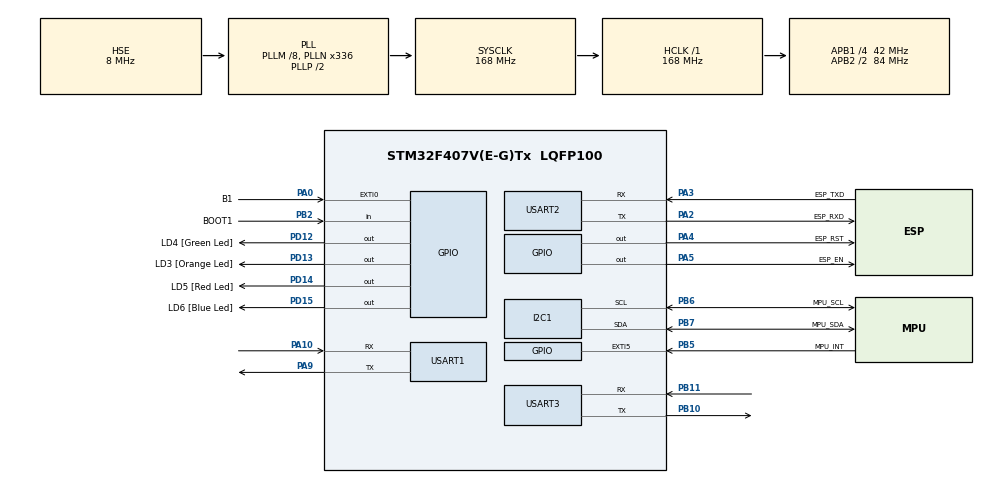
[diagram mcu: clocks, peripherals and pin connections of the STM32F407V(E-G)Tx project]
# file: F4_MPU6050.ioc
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Dma.Request0=USART2_RX
Dma.Request1=USART2_TX
Dma.Request2=USART3_RX
Dma.Request3=USART3_TX
Dma.USART2_RX.0.Direction=DMA_PERIPH_TO_MEMORY
Dma.USART2_RX.0.FIFOMode=DMA_FIFOMODE_DISABLE
Dma.USART2_RX.0.Instance=DMA1_Stream5
Dma.USART2_RX.0.MemDataAlignment=DMA_MDATAALIGN_BYTE
Dma.USART2_RX.0.MemInc=DMA_MINC_ENABLE
Dma.USART2_RX.0.Mode=DMA_NORMAL
Dma.USART2_RX.0.PeriphDataAlignment=DMA_PDATAALIGN_BYTE
Dma.USART2_RX.0.PeriphInc=DMA_PINC_DISABLE
Dma.USART2_RX.0.Priority=DMA_PRIORITY_LOW
Dma.USART2_TX.1.Direction=DMA_MEMORY_TO_PERIPH
Dma.USART2_TX.1.FIFOMode=DMA_FIFOMODE_DISABLE
Dma.USART2_TX.1.Instance=DMA1_Stream6
Dma.USART2_TX.1.MemDataAlignment=DMA_MDATAALIGN_BYTE
Dma.USART2_TX.1.MemInc=DMA_MINC_ENABLE
Dma.USART2_TX.1.Mode=DMA_NORMAL
Dma.USART2_TX.1.PeriphDataAlignment=DMA_PDATAALIGN_BYTE
Dma.USART2_TX.1.PeriphInc=DMA_PINC_DISABLE
Dma.USART2_TX.1.Priority=DMA_PRIORITY_LOW
Dma.USART3_RX.2.Direction=DMA_PERIPH_TO_MEMORY
Dma.USART3_RX.2.FIFOMode=DMA_FIFOMODE_DISABLE
Dma.USART3_RX.2.Instance=DMA1_Stream1
Dma.USART3_RX.2.MemDataAlignment=DMA_MDATAALIGN_BYTE
Dma.USART3_RX.2.MemInc=DMA_MINC_ENABLE
Dma.USART3_RX.2.Mode=DMA_NORMAL
Dma.USART3_RX.2.PeriphDataAlignment=DMA_PDATAALIGN_BYTE
Dma.USART3_RX.2.PeriphInc=DMA_PINC_DISABLE
Dma.USART3_RX.2.Priority=DMA_PRIORITY_LOW
Dma.USART3_TX.3.Direction=DMA_MEMORY_TO_PERIPH
Dma.USART3_TX.3.FIFOMode=DMA_FIFOMODE_DISABLE
Dma.USART3_TX.3.Instance=DMA1_Stream3
Dma.USART3_TX.3.MemDataAlignment=DMA_MDATAALIGN_BYTE
Dma.USART3_TX.3.MemInc=DMA_MINC_ENABLE
Dma.USART3_TX.3.Mode=DMA_NORMAL
Dma.USART3_TX.3.PeriphDataAlignment=DMA_PDATAALIGN_BYTE
Dma.USART3_TX.3.PeriphInc=DMA_PINC_DISABLE
Dma.USART3_TX.3.Priority=DMA_PRIORITY_LOW
Mcu.Family=STM32F4
Mcu.Name=STM32F407V(E-G)Tx
Mcu.Package=LQFP100
NVIC.DMA1_Stream1_IRQn=true\:0\:0\:false\:false\:true\:false\:true
NVIC.DMA1_Stream3_IRQn=true\:0\:0\:false\:false\:true\:false\:true
NVIC.DMA1_Stream5_IRQn=true\:0\:0\:false\:false\:true\:false\:true
NVIC.DMA1_Stream6_IRQn=true\:0\:0\:false\:false\:true\:false\:true
NVIC.EXTI0_IRQn=true\:0\:0\:false\:false\:true\:true\:true
NVIC.EXTI9_5_IRQn=true\:0\:0\:false\:false\:true\:true\:true
NVIC.PriorityGroup=NVIC_PRIORITYGROUP_0
NVIC.USART2_IRQn=true\:0\:0\:false\:false\:true\:true\:true
NVIC.USART3_IRQn=true\:0\:0\:false\:false\:true\:true\:true
PA0-WKUP.GPIO_Label=B1
PA0-WKUP.Signal=GPXTI0
PA10.Mode=Asynchronous
PA10.Signal=USART1_RX
PA13.GPIO_Label=SWDIO
PA13.Mode=Serial_Wire
PA13.Signal=SYS_JTMS-SWDIO
PA14.GPIO_Label=SWCLK
PA14.Mode=Serial_Wire
PA14.Signal=SYS_JTCK-SWCLK
PA2.GPIO_Label=ESP_RXD
PA2.Mode=Asynchronous
PA2.Signal=USART2_TX
PA3.GPIO_Label=ESP_TXD
PA3.Mode=Asynchronous
PA3.Signal=USART2_RX
PA4.GPIO_Label=ESP_RST
PA4.Signal=GPIO_Output
PA5.GPIO_Label=ESP_EN
PA5.Signal=GPIO_Output
PA9.Mode=Asynchronous
PA9.Signal=USART1_TX
PB10.Mode=Asynchronous
PB10.Signal=USART3_TX
PB11.Mode=Asynchronous
PB11.Signal=USART3_RX
PB2.GPIO_Label=BOOT1
PB2.GPIO_Mode=GPIO_MODE_INPUT
PB2.GPIO_PuPd=GPIO_NOPULL
PB2.Signal=GPIO_Input
PB5.GPIO_Label=MPU_INT
PB5.Signal=GPXTI5
PB6.GPIO_Label=MPU_SCL
PB6.Mode=I2C
PB6.Signal=I2C1_SCL
PB7.GPIO_Label=MPU_SDA
PB7.Mode=I2C
PB7.Signal=I2C1_SDA
PC14-OSC32_IN.GPIO_Label=PC14-OSC32_IN
PC14-OSC32_IN.Mode=LSE-External-Oscillator
PC14-OSC32_IN.Signal=RCC_OSC32_IN
PC15-OSC32_OUT.GPIO_Label=PC15-OSC32_OUT
PC15-OSC32_OUT.Mode=LSE-External-Oscillator
PC15-OSC32_OUT.Signal=RCC_OSC32_OUT
PD12.GPIO_Label=LD4 [Green Led]
PD12.GPIO_PuPd=GPIO_NOPULL
PD12.GPIO_Speed=GPIO_SPEED_FREQ_LOW
PD12.Signal=GPIO_Output
PD13.GPIO_Label=LD3 [Orange Led]
PD13.GPIO_PuPd=GPIO_NOPULL
PD13.GPIO_Speed=GPIO_SPEED_FREQ_LOW
PD13.Signal=GPIO_Output
PD14.GPIO_Label=LD5 [Red Led]
PD14.GPIO_PuPd=GPIO_NOPULL
PD14.GPIO_Speed=GPIO_SPEED_FREQ_LOW
PD14.Signal=GPIO_Output
PD15.GPIO_Label=LD6 [Blue Led]
PD15.GPIO_PuPd=GPIO_NOPULL
PD15.GPIO_Speed=GPIO_SPEED_FREQ_LOW
PD15.Signal=GPIO_Output
PH0-OSC_IN.GPIO_Label=PH0-OSC_IN
PH0-OSC_IN.Mode=HSE-External-Oscillator
PH0-OSC_IN.Signal=RCC_OSC_IN
PH1-OSC_OUT.GPIO_Label=PH1-OSC_OUT
PH1-OSC_OUT.Mode=HSE-External-Oscillator
PH1-OSC_OUT.Signal=RCC_OSC_OUT
ProjectManager.HeapSize=0x200
ProjectManager.StackSize=0x400
ProjectManager.TargetToolchain=STM32CubeIDE
RCC.48MHZClocksFreq_Value=48000000
RCC.AHBFreq_Value=168000000
RCC.APB1CLKDivider=RCC_HCLK_DIV4
RCC.APB1Freq_Value=42000000
RCC.APB1TimFreq_Value=84000000
RCC.APB2CLKDivider=RCC_HCLK_DIV2
RCC.APB2Freq_Value=84000000
RCC.APB2TimFreq_Value=168000000
RCC.CortexFreq_Value=168000000
RCC.HCLKFreq_Value=168000000
RCC.HSE_VALUE=8000000
RCC.HSI_VALUE=16000000
RCC.PLLM=8
RCC.PLLN=336
RCC.PLLQ=7
RCC.PLLSourceVirtual=RCC_PLLSOURCE_HSE
RCC.SYSCLKFreq_VALUE=168000000
RCC.SYSCLKSource=RCC_SYSCLKSOURCE_PLLCLK
RCC.VCOOutputFreq_Value=336000000
USART1.VirtualMode=VM_ASYNC
USART2.VirtualMode=VM_ASYNC
USART3.VirtualMode=VM_ASYNC
board=STM32F407G-DISC1

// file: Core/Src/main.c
/* USER CODE BEGIN Header */
/**
  ******************************************************************************
  * @file           : main.c
  * @brief          : Main program body
  ******************************************************************************
  * @attention
  *
  * <h2><center>&copy; Copyright (c) 2021 STMicroelectronics.
  * All rights reserved.</center></h2>
  *
  * This software component is licensed by ST under Ultimate Liberty license
  * SLA0044, the "License"; You may not use this file except in compliance with
  * the License. You may obtain a copy of the License at:
  *                             www.st.com/SLA0044
  *
  ******************************************************************************
  */
/* USER CODE END Header */
#include "main.h"
#include "dma.h"
#include "i2c.h"
#include "usart.h"
#include "gpio.h"

/* USER CODE BEGIN Includes */
#include "esp8266_at.h"
#include "my_uart.h"
#include "inv_mpu.h"
#include "inv_mpu_dmp_motion_driver.h"
#include "mpu6050.h"
/* USER CODE END Includes */

/* USER CODE BEGIN PV */
float pitch, roll, yaw; 			//欧拉角
short pitch_s, roll_s, yaw_s;	//欧拉角转成short型，方便串口打印
short aacx, aacy, aacz;			//加速度传感器原始数据
short gyrox, gyroy, gyroz;		//陀螺仪原始数据
short temp;						//温度
/* USER CODE END PV */

void SystemClock_Config(void);

int main(void)
{

  /* MCU Configuration--------------------------------------------------------*/

  /* Reset of all peripherals, Initializes the Flash interface and the Systick. */
  HAL_Init();

  /* Configure the system clock */
  SystemClock_Config();

  /* Initialize all configured peripherals */
  MX_GPIO_Init();
  MX_DMA_Init();
  MX_I2C1_Init();
  MX_USART2_UART_Init();
  MX_USART3_UART_Init();
  MX_USART1_UART_Init();
  /* USER CODE BEGIN 2 */
  UART2_DMA_IDLE_Start();
  UART3_DMA_IDLE_Start();

  printf("MPU6050 TEST\r\n");

  while(mpu_dmp_init())//MPU DMP初始化
	{
	    printf("MPU6050 ERROR!!!\r\n");
		HAL_Delay(500);
	}

  //ESP8266_Init();

  //HAL_Delay(1000);

  /* USER CODE END 2 */

  /* Infinite loop */
  /* USER CODE BEGIN WHILE */
  while (1)
  {
	  if(mpu_dmp_get_data(&pitch,&roll,&yaw)==0){
		  temp=MPU_Get_Temperature();	//得到温度值
		  MPU_Get_Accelerometer(&aacx,&aacy,&aacz);	//得到加速度传感器数据
		  MPU_Get_Gyroscope(&gyrox,&gyroy,&gyroz);	//得到陀螺仪数据

		  //温度，由于温度值为float型，为方便打印，MPU_Get_Temperature得到的温度值为放大100倍的
		  if(temp<0){
			  temp=-temp;		//转为正数
			  printf(" Temp:  -%d.%dC",temp/100,temp%10);
		  }
		  else
			  printf(" Temp:  %d.%dC",temp/100,temp%10);

		  //pitch
		  pitch_s=pitch*10;
		  if(pitch_s<0){
			  pitch_s=-pitch_s;		//转为正数
			  printf(" Pitch: -%d.%d",pitch_s/10,pitch_s%10);
		  }
		  else
			  printf(" Pitch:  %d.%d",pitch_s/10,pitch_s%10);

		  //roll
		  roll_s=roll*10;
		  if(roll_s<0){
			  roll_s=-roll_s;		//转为正数
			  printf(" roll: -%d.%d",roll_s/10,roll_s%10);
		  }
		  else
			  printf(" roll:  %d.%d",roll_s/10,roll_s%10);
		  //yaw
		  yaw_s=yaw*10;
		  if(yaw_s<0){
			  yaw_s=-yaw_s;		//转为正数
		  	  printf(" yaw: -%d.%d\r\n",yaw_s/10,yaw_s%10);
		  }
		  else
		  	  printf(" yaw:  %d.%d\r\n",yaw_s/10,yaw_s%10);
	  }
    /* USER CODE END WHILE */

  }
}

void SystemClock_Config(void)
{
  RCC_OscInitTypeDef RCC_OscInitStruct = {0};
  RCC_ClkInitTypeDef RCC_ClkInitStruct = {0};

  /** Configure the main internal regulator output voltage
  */
  __HAL_RCC_PWR_CLK_ENABLE();
  __HAL_PWR_VOLTAGESCALING_CONFIG(PWR_REGULATOR_VOLTAGE_SCALE1);
  /** Initializes the RCC Oscillators according to the specified parameters
  * in the RCC_OscInitTypeDef structure.
  */
  RCC_OscInitStruct.OscillatorType = RCC_OSCILLATORTYPE_HSE;
  RCC_OscInitStruct.HSEState = RCC_HSE_ON;
  RCC_OscInitStruct.PLL.PLLState = RCC_PLL_ON;
  RCC_OscInitStruct.PLL.PLLSource = RCC_PLLSOURCE_HSE;
  RCC_OscInitStruct.PLL.PLLM = 8;
  RCC_OscInitStruct.PLL.PLLN = 336;
  RCC_OscInitStruct.PLL.PLLP = RCC_PLLP_DIV2;
  RCC_OscInitStruct.PLL.PLLQ = 7;
  if (HAL_RCC_OscConfig(&RCC_OscInitStruct) != HAL_OK)
  {
    Error_Handler();
  }
  /** Initializes the CPU, AHB and APB buses clocks
  */
  RCC_ClkInitStruct.ClockType = RCC_CLOCKTYPE_HCLK|RCC_CLOCKTYPE_SYSCLK
                              |RCC_CLOCKTYPE_PCLK1|RCC_CLOCKTYPE_PCLK2;
  RCC_ClkInitStruct.SYSCLKSource = RCC_SYSCLKSOURCE_PLLCLK;
  RCC_ClkInitStruct.AHBCLKDivider = RCC_SYSCLK_DIV1;
  RCC_ClkInitStruct.APB1CLKDivider = RCC_HCLK_DIV4;
  RCC_ClkInitStruct.APB2CLKDivider = RCC_HCLK_DIV2;

  if (HAL_RCC_ClockConfig(&RCC_ClkInitStruct, FLASH_LATENCY_5) != HAL_OK)
  {
    Error_Handler();
  }
}

void Error_Handler(void)
{
  __disable_irq();
  while (1)
  {
  }
}

/************************ (C) COPYRIGHT STMicroelectronics *****END OF FILE****/
